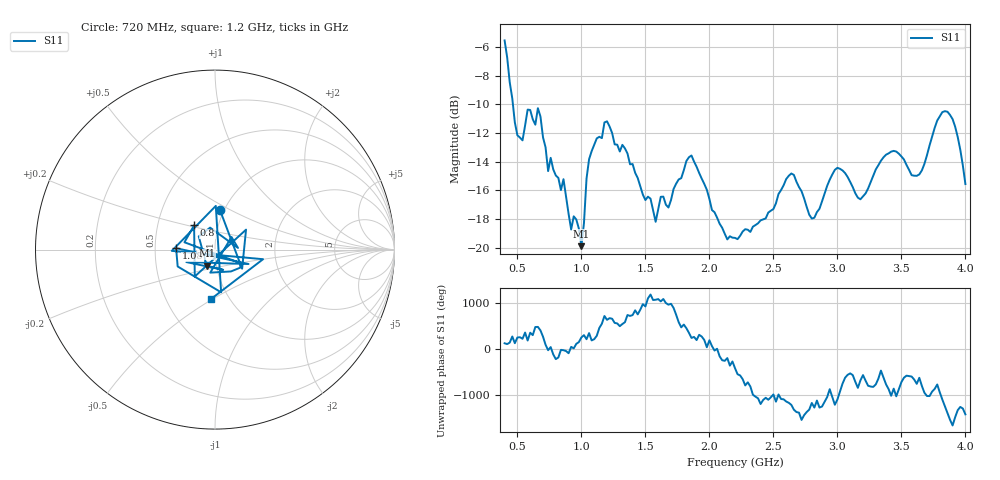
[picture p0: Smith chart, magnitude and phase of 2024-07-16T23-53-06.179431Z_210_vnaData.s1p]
!Created with skrf (http://scikit-rf.org).
# Hz S RI R 50.0
!freq ReS11 ImS11
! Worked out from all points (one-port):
!   181 points, 400 MHz to 4 GHz, reference 50 ohm
!   lowest |S11| = -19.9 dB at 1 GHz (marker M1), VSWR 1.23, Z = 44.9 - j8.14 ohm
!   |S11| at or under -10 dB: 464.8 MHz to end of sweep
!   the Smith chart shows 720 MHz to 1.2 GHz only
!   S11 on the Smith chart (normalised r, x): 720 MHz: 0.95, +0.45; 800 MHz: 0.77, +0.21; 1.08 GHz: 0.64, +0.01; 1.2 GHz: 0.83, -0.49
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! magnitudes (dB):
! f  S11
! 400 MHz  -5.6
! 500 MHz  -12.2
! 660 MHz  -10.3
! 720 MHz  -13.0
! 740 MHz  -14.7
! 800 MHz  -15.0
! 860 MHz  -15.2
! 920 MHz  -18.7
! 960 MHz  -18.0
! 1 GHz  -19.9
! 1.04 GHz  -15.2
! 1.08 GHz  -13.3
! 1.2 GHz  -11.2
! 1.3 GHz  -13.3
! 1.58 GHz  -18.2
! 1.76 GHz  -15.2
! 1.86 GHz  -13.6
! 2.2 GHz  -19.3
! 2.66 GHz  -14.9
! 2.8 GHz  -18.0
! 2.98 GHz  -14.6
! 3.1 GHz  -15.4
! 3.18 GHz  -16.6
! 3.44 GHz  -13.3
! 3.56 GHz  -14.6
! 3.64 GHz  -14.9
! 3.86 GHz  -10.5
! 4 GHz  -15.6
